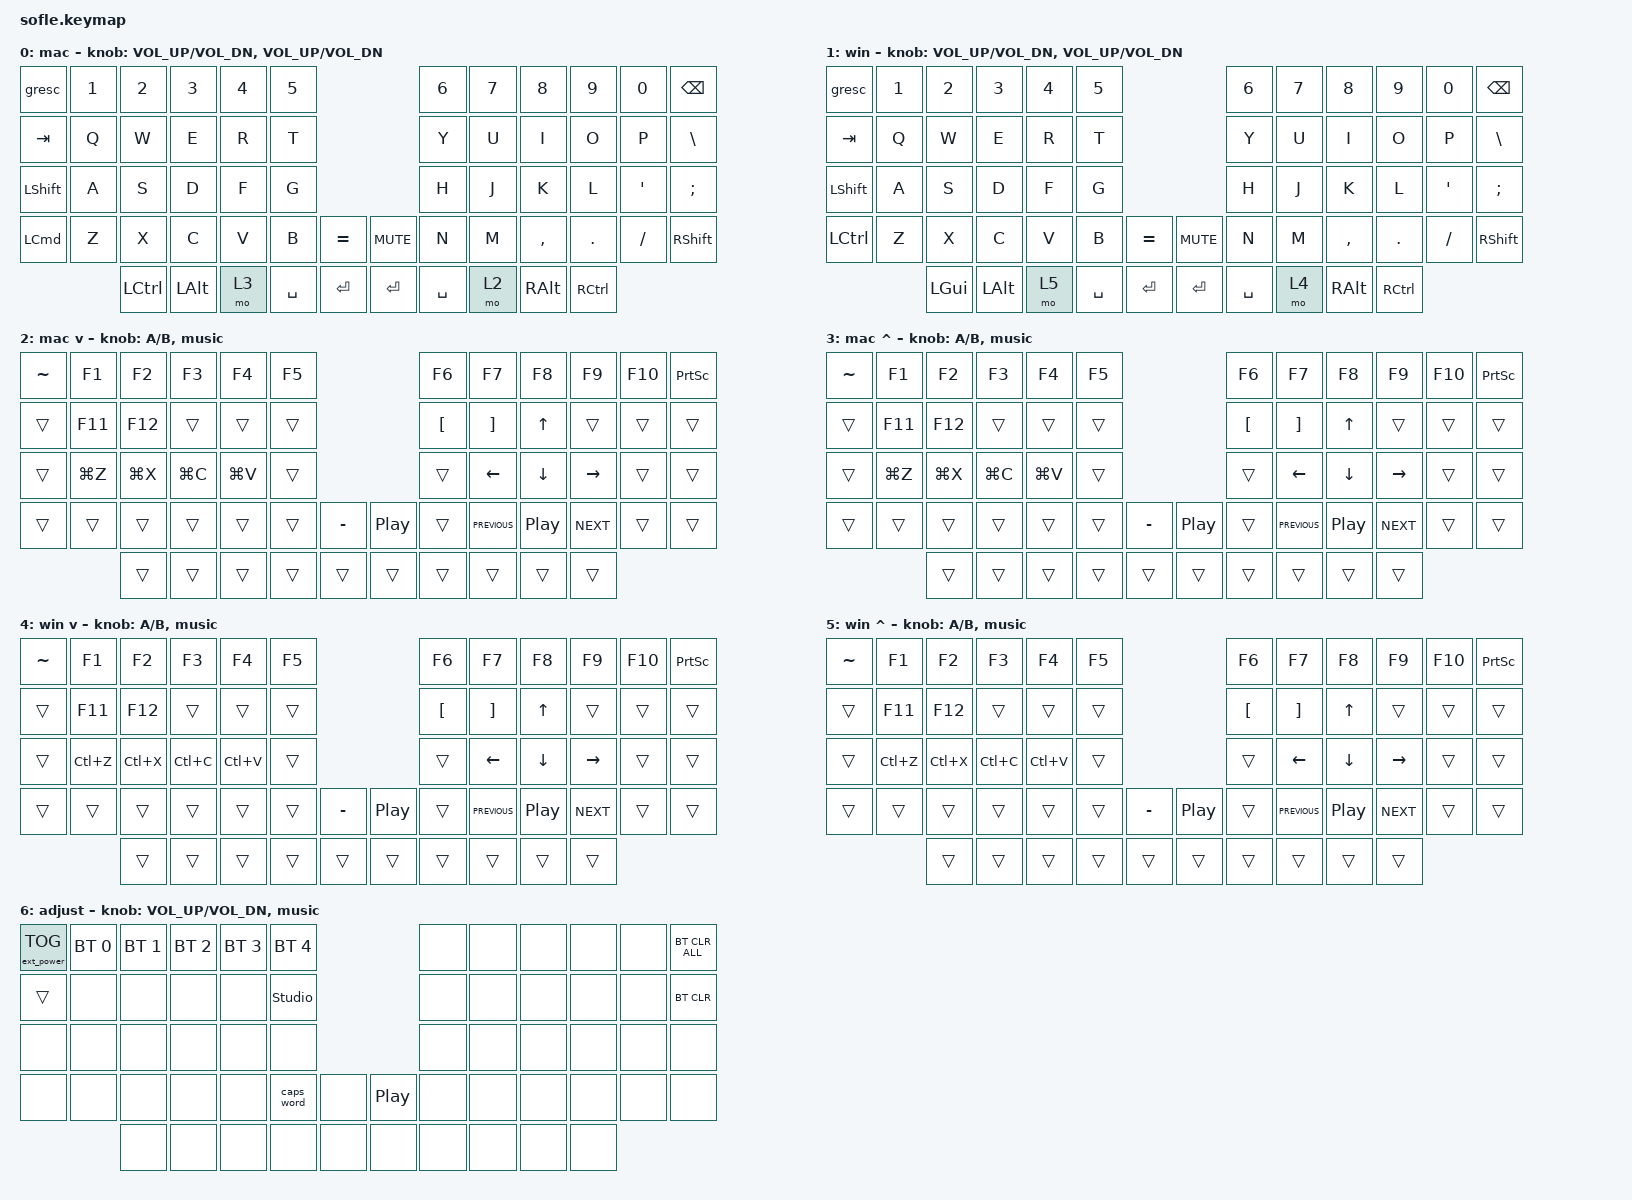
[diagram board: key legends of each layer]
/*
 * Copyright (c) 2020 The ZMK Contributors
 *
 * SPDX-License-Identifier: MIT
 */

#include <behaviors.dtsi>
#include <dt-bindings/zmk/bt.h>
#include <dt-bindings/zmk/ext_power.h>
#include <dt-bindings/zmk/keys.h>

// Encoders

&sensors { triggers-per-rotation = <20>; };

&left_encoder { steps = <80>; };

&right_encoder { steps = <80>; };

#define BASE 0
#define LOWER 1
#define RAISE 2
#define ADJUST 3
#define EXTRA 4

/ {
    // Activate ADJUST layer by pressing raise and lower

    conditional_layers {
        compatible = "zmk,conditional-layers";

        adjust_layer {
            if-layers = <2 3>;
            then-layer = <6>;
        };

        windows_adjust {
            if-layers = <4 5>;
            then-layer = <6>;
        };
    };

    combos {
        compatible = "zmk,combos";

        backspace {
            bindings = <&kp BACKSPACE>;
            key-positions = <31 30>;
        };

        esc {
            bindings = <&kp ESCAPE>;
            key-positions = <29 28>;
        };

        underscore {
            bindings = <&kp UNDER>;
            key-positions = <32 31>;
        };

        equals {
            bindings = <&kp EQUAL>;
            key-positions = <27 28>;
        };

        plus {
            bindings = <&kp PLUS>;
            key-positions = <16 15>;
        };

        minus {
            bindings = <&kp MINUS>;
            key-positions = <20 19>;
        };

        toggle_windows_layer {
            bindings = <&tog 1>;
            key-positions = <36 54 55 49>;
        };
    };

    behaviors {
        scrolling: scrolling {
            compatible = "zmk,behavior-sensor-rotate";
            label = "SCROLLING";
            #sensor-binding-cells = <0>;
            bindings = <&kp UP_ARROW>, <&kp DOWN_ARROW>;
        };

        music: music {
            compatible = "zmk,behavior-sensor-rotate";
            label = "MUSIC";
            #sensor-binding-cells = <0>;
            bindings = <&kp C_NEXT>, <&kp C_PREVIOUS>;
        };
    };

    keymap {
        compatible = "zmk,keymap";

        // swap C_MUTE & EQUAL for encoder on the right

        default_layer {
            display-name = "mac";

            // ------------------------------------------------------------------------------------------------------------
            // |   `   |  1  |  2  |  3   |  4   |  5   |                   |  6   |  7    |  8    |  9   |   0   |       |
            // |  ESC  |  Q  |  W  |  E   |  R   |  T   |                   |  Y   |  U    |  I    |  O   |   P   | BKSPC |
            // |  TAB  |  A  |  S  |  D   |  F   |  G   |                   |  H   |  J    |  K    |  L   |   ;   |   '   |
            // | SHIFT |  Z  |  X  |  C   |  V   |  B   |  MUTE  |  |       |  N   |  M    |  ,    |  .   |   /   | SHIFT |
            //               | GUI | ALT  | CTRL | LOWER|  ENTER |  | SPACE | RAISE| CTRL  | ALT   | GUI  |

            bindings = <
&gresc            &kp N1  &kp N2     &kp N3    &kp N4  &kp N5                               &kp N6     &kp N7  &kp N8     &kp N9     &kp N0    &kp BACKSPACE
&kp TAB           &kp Q   &kp W      &kp E     &kp R   &kp T                                &kp Y      &kp U   &kp I      &kp O      &kp P     &kp BACKSLASH
&kp LEFT_SHIFT    &kp A   &kp S      &kp D     &kp F   &kp G                                &kp H      &kp J   &kp K      &kp L      &kp APOS  &kp SEMI
&kp LEFT_COMMAND  &kp Z   &kp X      &kp C     &kp V   &kp B      &kp EQUAL     &kp C_MUTE  &kp N      &kp M   &kp COMMA  &kp DOT    &kp FSLH  &kp RSHFT
                          &kp LCTRL  &kp LALT  &mo 3   &kp SPACE  &kp RETURN    &kp ENTER   &kp SPACE  &mo 2   &kp RALT   &kp RCTRL
            >;

            sensor-bindings = <&inc_dec_kp C_VOL_UP C_VOL_DN &inc_dec_kp C_VOL_UP C_VOL_DN>;
        };

        windows {
            display-name = "win";
            bindings = <
&gresc            &kp N1  &kp N2        &kp N3    &kp N4  &kp N5                               &kp N6     &kp N7  &kp N8     &kp N9     &kp N0    &kp BACKSPACE
&kp TAB           &kp Q   &kp W         &kp E     &kp R   &kp T                                &kp Y      &kp U   &kp I      &kp O      &kp P     &kp BACKSLASH
&kp LEFT_SHIFT    &kp A   &kp S         &kp D     &kp F   &kp G                                &kp H      &kp J   &kp K      &kp L      &kp APOS  &kp SEMI
&kp LEFT_CONTROL  &kp Z   &kp X         &kp C     &kp V   &kp B      &kp EQUAL     &kp C_MUTE  &kp N      &kp M   &kp COMMA  &kp DOT    &kp FSLH  &kp RSHFT
                          &kp LEFT_GUI  &kp LALT  &mo 5   &kp SPACE  &kp RETURN    &kp ENTER   &kp SPACE  &mo 4   &kp RALT   &kp RCTRL
            >;

            sensor-bindings =
                <&inc_dec_kp C_VOL_UP C_VOL_DN>,
                <&inc_dec_kp C_VOL_UP C_VOL_DN>;
        };

        lower_layer {
            display-name = "mac v";

            // TODO: Some binds are waiting for shifted keycode support.
            // ------------------------------------------------------------------------------------------------------------
            // |       |  F1 |  F2 |  F3  |  F4  |  F5  |                   |  F6  |  F7   |  F8   |  F9  |  F10  |  F11  |
            // |   `   |  1  |  2  |  3   |  4   |  5   |                   |  6   |  7    |  8    |  9   |   0   |  F12  |
            // |       |  !  |  @  |  #   |  $   |  %   |                   |  ^   |  &    |  *    |  (   |   )   |   |   |
            // |       |  =  |  -  |  +   |  {   |  }   |        |  |       |  [   |  ]    |  ;    |  :   |   \   |       |
            //               |     |      |      |      |        |  |       |      |       |       |      |

            bindings = <
&kp TILDE  &kp F1     &kp F2     &kp F3     &kp F4     &kp F5                                 &kp F6            &kp F7             &kp F8            &kp F9      &kp F10  &kp PRINTSCREEN
&trans     &kp F11    &kp F12    &trans     &trans     &trans                                 &kp LEFT_BRACKET  &kp RIGHT_BRACKET  &kp UP_ARROW      &trans      &trans   &trans
&trans     &kp LG(Z)  &kp LG(X)  &kp LG(C)  &kp LG(V)  &trans                                 &trans            &kp LEFT           &kp DOWN          &kp RIGHT   &trans   &trans
&trans     &trans     &trans     &trans     &trans     &trans  &kp MINUS    &kp C_PLAY_PAUSE  &trans            &kp C_PREVIOUS     &kp C_PLAY_PAUSE  &kp C_NEXT  &trans   &trans
                      &trans     &trans     &trans     &trans  &trans       &trans            &trans            &trans             &trans            &trans
            >;

            sensor-bindings = <&inc_dec_kp A B>, <&music>;
        };

        raise_layer {
            display-name = "mac ^";
            bindings = <
&kp TILDE  &kp F1     &kp F2     &kp F3     &kp F4     &kp F5                                 &kp F6            &kp F7             &kp F8            &kp F9      &kp F10  &kp PRINTSCREEN
&trans     &kp F11    &kp F12    &trans     &trans     &trans                                 &kp LEFT_BRACKET  &kp RIGHT_BRACKET  &kp UP_ARROW      &trans      &trans   &trans
&trans     &kp LG(Z)  &kp LG(X)  &kp LG(C)  &kp LG(V)  &trans                                 &trans            &kp LEFT           &kp DOWN          &kp RIGHT   &trans   &trans
&trans     &trans     &trans     &trans     &trans     &trans  &kp MINUS    &kp C_PLAY_PAUSE  &trans            &kp C_PREVIOUS     &kp C_PLAY_PAUSE  &kp C_NEXT  &trans   &trans
                      &trans     &trans     &trans     &trans  &trans       &trans            &trans            &trans             &trans            &trans
            >;

            sensor-bindings = <&inc_dec_kp A B>, <&music>;
        };

        windows_lower {
            display-name = "win v";
            bindings = <
&kp TILDE  &kp F1     &kp F2     &kp F3     &kp F4     &kp F5                                 &kp F6            &kp F7             &kp F8            &kp F9      &kp F10  &kp PRINTSCREEN
&trans     &kp F11    &kp F12    &trans     &trans     &trans                                 &kp LEFT_BRACKET  &kp RIGHT_BRACKET  &kp UP_ARROW      &trans      &trans   &trans
&trans     &kp LC(Z)  &kp LC(X)  &kp LC(C)  &kp LC(V)  &trans                                 &trans            &kp LEFT           &kp DOWN          &kp RIGHT   &trans   &trans
&trans     &trans     &trans     &trans     &trans     &trans  &kp MINUS    &kp C_PLAY_PAUSE  &trans            &kp C_PREVIOUS     &kp C_PLAY_PAUSE  &kp C_NEXT  &trans   &trans
                      &trans     &trans     &trans     &trans  &trans       &trans            &trans            &trans             &trans            &trans
            >;

            sensor-bindings = <&inc_dec_kp A B>, <&music>;
        };

        windows_raise {
            display-name = "win ^";
            bindings = <
&kp TILDE  &kp F1     &kp F2     &kp F3     &kp F4     &kp F5                                 &kp F6            &kp F7             &kp F8            &kp F9      &kp F10  &kp PRINTSCREEN
&trans     &kp F11    &kp F12    &trans     &trans     &trans                                 &kp LEFT_BRACKET  &kp RIGHT_BRACKET  &kp UP_ARROW      &trans      &trans   &trans
&trans     &kp LC(Z)  &kp LC(X)  &kp LC(C)  &kp LC(V)  &trans                                 &trans            &kp LEFT           &kp DOWN          &kp RIGHT   &trans   &trans
&trans     &trans     &trans     &trans     &trans     &trans  &kp MINUS    &kp C_PLAY_PAUSE  &trans            &kp C_PREVIOUS     &kp C_PLAY_PAUSE  &kp C_NEXT  &trans   &trans
                      &trans     &trans     &trans     &trans  &trans       &trans            &trans            &trans             &trans            &trans
            >;

            sensor-bindings = <&inc_dec_kp A B>, <&music>;
        };

        adjust_layer {
            // ----------------------------------------------------------------------------------------------------------------------------
            // | BTCLR  |  BT1    |  BT2    |   BT3   |   BT4   |   BT5   |                  |      |      |       |      |       |       |
            // | EXTPWR | RGB_HUD | RGB_HUI | RGB_SAD | RGB_SAI | RGB_EFF |                  |      |      |       |      |       |       |
            // |        | RGB_BRD | RGB_BRI |         |         |         |                  |      |      |       |      |       |       |
            // |        |         |         |         |         |         | RGB_TOG | |      |      |      |       |      |       |       |
            //                    |         |         |         |         |         | |      |      |      |       |      |

            display-name = "adjust";
            bindings = <
&ext_power EP_TOG  &bt BT_SEL 0  &bt BT_SEL 1  &bt BT_SEL 2  &bt BT_SEL 3  &bt BT_SEL 4                               &none  &none  &none  &none  &none  &bt BT_CLR_ALL
&trans             &none         &none         &none         &none         &studio_unlock                             &none  &none  &none  &none  &none  &bt BT_CLR
&none              &none         &none         &none         &none         &none                                      &none  &none  &none  &none  &none  &none
&none              &none         &none         &none         &none         &caps_word      &none    &kp C_PLAY_PAUSE  &none  &none  &none  &none  &none  &none
                                 &none         &none         &none         &none           &none    &none             &none  &none  &none  &none
            >;

            sensor-bindings = <&inc_dec_kp C_VOL_UP C_VOL_DN>, <&music>;
        };
    };
};
